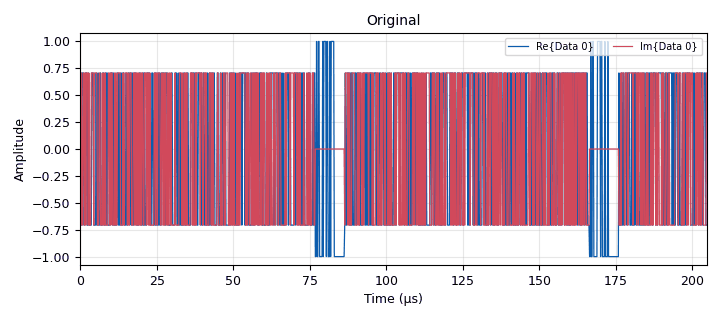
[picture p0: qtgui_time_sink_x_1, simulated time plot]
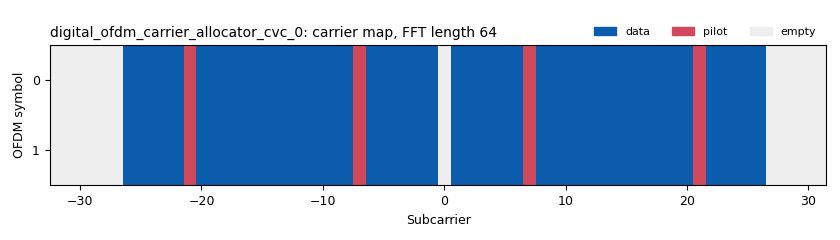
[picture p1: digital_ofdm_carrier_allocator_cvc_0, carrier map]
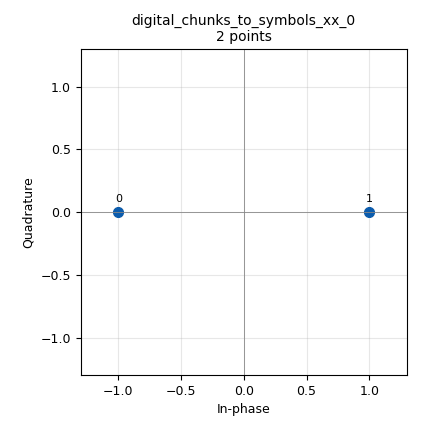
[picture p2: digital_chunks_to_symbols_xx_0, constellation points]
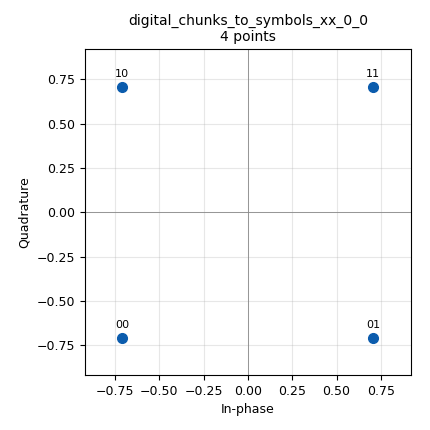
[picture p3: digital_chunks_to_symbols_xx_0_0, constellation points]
<?xml version='1.0' encoding='utf-8'?>
<?grc format='1' created='3.7.9'?>
<flow_graph>
<block>
<key>options</key>
<param><key>id</key><value>chaine_ofdm</value></param>
<param><key>category</key><value>Custom</value></param>
<param><key>description</key><value>Example of an OFDM receiver</value></param>
<param><key>generate_options</key><value>qt_gui</value></param>
<param><key>title</key><value>OFDM Rx</value></param>
</block>
<block>
<key>variable</key>
<param><key>id</key><value>fft_len</value></param>
<param><key>value</key><value>64</value></param>
</block>
<block>
<key>variable</key>
<param><key>id</key><value>header_equalizer</value></param>
<param><key>value</key><value>digital.ofdm_equalizer_simpledfe(fft_len, header_mod.base(), occupied_carriers, pilot_carriers, pilot_symbols)</value></param>
</block>
<block>
<key>variable</key>
<param><key>id</key><value>header_formatter</value></param>
<param><key>value</key><value>digital.packet_header_ofdm(occupied_carriers, n_syms=1, len_tag_key=packet_length_tag_key, frame_len_tag_key=length_tag_key, bits_per_header_sym=header_mod.bits_per_symbol(), bits_per_payload_sym=payload_mod.bits_per_symbol(), scramble_header=False)</value></param>
</block>
<block>
<key>variable</key>
<param><key>id</key><value>header_mod</value></param>
<param><key>value</key><value>digital.constellation_bpsk()</value></param>
</block>
<block>
<key>variable</key>
<param><key>id</key><value>length_tag_key</value></param>
<param><key>value</key><value>"frame_len"</value></param>
</block>
<block>
<key>variable</key>
<param><key>id</key><value>occupied_carriers</value></param>
<param><key>value</key><value>(range(-26, -21) + range(-20, -7) + range(-6, 0) + range(1, 7) + range(8, 21) + range(22, 27),)</value></param>
</block>
<block>
<key>variable</key>
<param><key>id</key><value>packet_len</value></param>
<param><key>value</key><value>96</value></param>
</block>
<block>
<key>variable</key>
<param><key>id</key><value>packet_length_tag_key</value></param>
<param><key>value</key><value>"packet_len"</value></param>
</block>
<block>
<key>variable</key>
<param><key>id</key><value>payload_equalizer</value></param>
<param><key>value</key><value>digital.ofdm_equalizer_simpledfe(fft_len, payload_mod.base(), occupied_carriers, pilot_carriers, pilot_symbols, 1)</value></param>
</block>
<block>
<key>variable</key>
<param><key>id</key><value>payload_mod</value></param>
<param><key>value</key><value>digital.constellation_qpsk()</value></param>
</block>
<block>
<key>variable</key>
<param><key>id</key><value>pilot_carriers</value></param>
<param><key>value</key><value>((-21, -7, 7, 21,),)</value></param>
</block>
<block>
<key>variable</key>
<param><key>id</key><value>pilot_symbols</value></param>
<param><key>value</key><value>((1, 1, 1, -1,),)</value></param>
</block>
<block>
<key>variable</key>
<param><key>id</key><value>rolloff</value></param>
<param><key>value</key><value>0</value></param>
</block>
<block>
<key>variable</key>
<param><key>id</key><value>samp_rate</value></param>
<param><key>value</key><value>5000000</value></param>
</block>
<block>
<key>variable</key>
<param><key>id</key><value>sync_word1</value></param>
<param><key>value</key><value>[0., 0., 0., 0., 0., 0., 0., 1.41421356, 0., -1.41421356, 0., 1.41421356, 0., -1.41421356, 0., -1.41421356, 0., -1.41421356, 0., 1.41421356, 0., -1.41421356, 0., 1.41421356, 0., -1.41421356, 0., -1.41421356, 0., -1.41421356, 0., -1.41421356, 0., 1.41421356, 0., -1.41421356, 0., 1.41421356, 0., 1.41421356, 0., 1.41421356, 0., -1.41421356, 0., 1.41421356, 0., 1.41421356, 0., 1.41421356, 0., -1.41421356, 0., 1.41421356, 0., 1.41421356, 0., 1.41421356, 0., 0., 0., 0., 0., 0.]</value></param>
</block>
<block>
<key>variable</key>
<param><key>id</key><value>sync_word2</value></param>
<param><key>value</key><value>[0j, 0j, 0j, 0j, 0j, 0j, (-1+0j), (-1+0j), (-1+0j), (-1+0j), (1+0j), (1+0j), (-1+0j), (-1+0j), (-1+0j), (1+0j), (-1+0j), (1+0j), (1+0j), (1 +0j), (1+0j), (1+0j), (-1+0j), (-1+0j), (-1+0j), (-1+0j), (-1+0j), (1+0j), (-1+0j), (-1+0j), (1+0j), (-1+0j), 0j, (1+0j), (-1+0j), (1+0j), (1+0j), (1+0j), (-1+0j), (1+0j), (1+0j), (1+0j), (-1+0j), (1+0j), (1+0j), (1+0j), (1+0j), (-1+0j), (1+0j), (-1+0j), (-1+0j), (-1+0j), (1+0j), (-1+0j), (1+0j), (-1+0j), (-1+0j), (-1+0j), (-1+0j), 0j, 0j, 0j, 0j, 0j]</value></param>
</block>
<block>
<key>analog_frequency_modulator_fc</key>
<param><key>id</key><value>analog_frequency_modulator_fc_0</value></param>
<param><key>sensitivity</key><value>-2.0/fft_len</value></param>
</block>
<block>
<key>analog_random_source_x</key>
<param><key>id</key><value>analog_random_source_x_0</value></param>
<param><key>max</key><value>255</value></param>
<param><key>min</key><value>0</value></param>
<param><key>num_samps</key><value>1024</value></param>
<param><key>type</key><value>byte</value></param>
<param><key>repeat</key><value>True</value></param>
</block>
<block>
<key>blocks_delay</key>
<param><key>id</key><value>blocks_delay_0</value></param>
<param><key>delay</key><value>fft_len+fft_len/4</value></param>
<param><key>type</key><value>complex</value></param>
</block>
<block>
<key>blocks_head</key>
<param><key>id</key><value>blocks_head_0</value></param>
<param><key>_enabled</key><value>0</value></param>
<param><key>num_items</key><value>1024</value></param>
<param><key>type</key><value>byte</value></param>
</block>
<block>
<key>blocks_multiply_const_vxx</key>
<param><key>id</key><value>blocks_multiply_const_vxx_0</value></param>
<param><key>const</key><value>0.05</value></param>
<param><key>type</key><value>complex</value></param>
</block>
<block>
<key>blocks_multiply_xx</key>
<param><key>id</key><value>blocks_multiply_xx_0</value></param>
<param><key>type</key><value>complex</value></param>
</block>
<block>
<key>blocks_null_sink</key>
<param><key>id</key><value>blocks_null_sink_0</value></param>
<param><key>bus_conns</key><value>[[0,],]</value></param>
<param><key>type</key><value>byte</value></param>
</block>
<block>
<key>blocks_probe_signal_x</key>
<param><key>id</key><value>blocks_probe_signal_x_0</value></param>
<param><key>type</key><value>byte</value></param>
</block>
<block>
<key>blocks_repack_bits_bb</key>
<param><key>id</key><value>blocks_repack_bits_bb_0</value></param>
<param><key>k</key><value>payload_mod.bits_per_symbol()</value></param>
<param><key>l</key><value>8</value></param>
<param><key>endianness</key><value>gr.GR_LSB_FIRST</value></param>
<param><key>len_tag_key</key><value>packet_length_tag_key</value></param>
<param><key>align_output</key><value>True</value></param>
</block>
<block>
<key>blocks_repack_bits_bb</key>
<param><key>id</key><value>blocks_repack_bits_bb_0_0</value></param>
<param><key>k</key><value>8</value></param>
<param><key>l</key><value>payload_mod.bits_per_symbol()</value></param>
<param><key>endianness</key><value>gr.GR_LSB_FIRST</value></param>
<param><key>len_tag_key</key><value>packet_length_tag_key</value></param>
</block>
<block>
<key>blocks_stream_to_tagged_stream</key>
<param><key>id</key><value>blocks_stream_to_tagged_stream_0</value></param>
<param><key>len_tag_key</key><value>packet_length_tag_key</value></param>
<param><key>packet_len</key><value>packet_len</value></param>
<param><key>type</key><value>byte</value></param>
</block>
<block>
<key>blocks_tag_debug</key>
<param><key>id</key><value>blocks_tag_debug_1</value></param>
<param><key>_enabled</key><value>0</value></param>
<param><key>type</key><value>byte</value></param>
<param><key>name</key><value>Rx Bytes</value></param>
</block>
<block>
<key>blocks_tag_gate</key>
<param><key>id</key><value>blocks_tag_gate_0</value></param>
<param><key>type</key><value>complex</value></param>
<param><key>propagate_tags</key><value>False</value></param>
</block>
<block>
<key>blocks_tagged_stream_mux</key>
<param><key>id</key><value>blocks_tagged_stream_mux_0</value></param>
<param><key>type</key><value>complex</value></param>
<param><key>lengthtagname</key><value>"packet_len"</value></param>
<param><key>ninputs</key><value>2</value></param>
</block>
<block>
<key>blocks_throttle</key>
<param><key>id</key><value>blocks_throttle_0</value></param>
<param><key>samples_per_second</key><value>samp_rate</value></param>
<param><key>type</key><value>complex</value></param>
</block>
<block>
<key>blocks_vector_source_x</key>
<param><key>id</key><value>blocks_vector_source_x_0</value></param>
<param><key>_enabled</key><value>0</value></param>
<param><key>type</key><value>byte</value></param>
<param><key>repeat</key><value>True</value></param>
<param><key>vector</key><value>(1,1,1,0,1,1,0,1,1,0,1,1,1,1,1,1,0,1,1,0,1,1,0,1,1,1,1,1,1,0,1,1,0,1,1,0,1,0,0,1,1,1,0,1,1,1,0,0,0,1,0,1,1,1,1,0,1,0,1,0,0,0,1,1,1,1,1,1,0,0,0,1,1,0,0,1,0,0,1,1,1,0,1,1,0,1,0,0,1,0,1,1,1,1,0,1,0,0,1,0,0,1,1,1,1,1,1,0,1,0,0,0,1,1,1,0,0,1,1,1,0,1,0,1,0,1,0,1,0,1,1,1,0,0,1,1,1,0,0,0,1,1,1,1,100,54,41,98,65,28,96,75,14,91,83,0,84,90,13,75,95,27,66,98,40,54,99,53,42,99,64,29,96,74,15,91,83,1,84,90,12,76,95,26,66,98,39,55,99,52,43,99,64,30,96,74,16,91,82,2,85,89,11,77,95,25,67,98,39,56,99,51,44,99,63,30,96,73,17,92,82,3,85,89,11,77,94,24,68,98,38,56,99,51,44,99,62,31,96,73,18,92,81,3,86,89,10,78,94,24,68,98,37,57,99,50,45,99,61,32,97,72,18,92,81,4,86,88,9,78,94,23,69,98,36,58,99,49,46,99,61,33,97,71,19,93,80,5,87,88,8,79,94,22)</value></param>
</block>
<block>
<key>digital_chunks_to_symbols_xx</key>
<param><key>id</key><value>digital_chunks_to_symbols_xx_0</value></param>
<param><key>dimension</key><value>1</value></param>
<param><key>in_type</key><value>byte</value></param>
<param><key>out_type</key><value>complex</value></param>
<param><key>symbol_table</key><value>header_mod.points()</value></param>
</block>
<block>
<key>digital_chunks_to_symbols_xx</key>
<param><key>id</key><value>digital_chunks_to_symbols_xx_0_0</value></param>
<param><key>dimension</key><value>1</value></param>
<param><key>in_type</key><value>byte</value></param>
<param><key>out_type</key><value>complex</value></param>
<param><key>symbol_table</key><value>payload_mod.points()</value></param>
</block>
<block>
<key>digital_constellation_decoder_cb</key>
<param><key>id</key><value>digital_constellation_decoder_cb_0</value></param>
<param><key>constellation</key><value>header_mod.base()</value></param>
</block>
<block>
<key>digital_constellation_decoder_cb</key>
<param><key>id</key><value>digital_constellation_decoder_cb_1</value></param>
<param><key>constellation</key><value>payload_mod.base()</value></param>
</block>
<block>
<key>digital_corr_est_cc</key>
<param><key>id</key><value>digital_corr_est_cc_0</value></param>
<param><key>sps</key><value>1</value></param>
<param><key>symbols</key><value>(0.00000 - 0.00000j, -0.23756 + 0.06817j, 0.02455 - 0.06790j, -0.02923 + 0.05414j, 0.00701 - 0.10558j, 0.07080 - 0.00739j, 0.04334 + 0.00660j, -0.11691 + 0.08759j, 0.09375 + 0.06250j, 0.04313 - 0.10143j, 0.00862 - 0.03317j, -0.05702 + 0.07170j, -0.09857 - 0.09157j, 0.02654 + 0.03204j, -0.03675 - 0.04537j, 0.06443 + 0.17533j, 0.04419 + 0.00000j, 0.06443 - 0.17533j, -0.03675 + 0.04537j, 0.02654 - 0.03204j, -0.09857 + 0.09157j, -0.05702 - 0.07170j, 0.00862 + 0.03317j, 0.04313 + 0.10143j, 0.09375 - 0.06250j, -0.11691 - 0.08759j, 0.04334 - 0.00660j, 0.07080 + 0.00739j, 0.00701 + 0.10558j, -0.02923 - 0.05414j, 0.02455 + 0.06790j, -0.23756 - 0.06817j, 0.00000 + 0.00000j, 0.23756 - 0.06817j, -0.02455 + 0.06790j, 0.02923 - 0.05414j, -0.00701 + 0.10558j, -0.07080 + 0.00739j, -0.04334 - 0.00660j, 0.11691 - 0.08759j, -0.09375 - 0.06250j, -0.04313 + 0.10143j, -0.00862 + 0.03317j, 0.05702 - 0.07170j, 0.09857 + 0.09157j, -0.02654 - 0.03204j, 0.03675 + 0.04537j, -0.06443 - 0.17533j, -0.04419 + 0.00000j, -0.06443 + 0.17533j, 0.03675 - 0.04537j, -0.02654 + 0.03204j, 0.09857 - 0.09157j, 0.05702 + 0.07170j, -0.00862 - 0.03317j, -0.04313 - 0.10143j, -0.09375 + 0.06250j, 0.11691 + 0.08759j, -0.04334 + 0.00660j, -0.07080 - 0.00739j, -0.00701 - 0.10558j, 0.02923 + 0.05414j, -0.02455 - 0.06790j, 0.23756 + 0.06817j, 0.00000 - 0.00000j, -0.23756 + 0.06817j, 0.02455 - 0.06790j, -0.02923 + 0.05414j, 0.00701 - 0.10558j, 0.07080 - 0.00739j, 0.04334 + 0.00660j, -0.11691 + 0.08759j, 0.09375 + 0.06250j, 0.04313 - 0.10143j, 0.00862 - 0.03317j, -0.05702 + 0.07170j, -0.09857 - 0.09157j, 0.02654 + 0.03204j, -0.03675 - 0.04537j, 0.06443 + 0.17533j, 0.06250 + 0.03125j, -0.10790 - 0.08255j, 0.00182 + 0.03337j, 0.09586 - 0.07711j, 0.06872 + 0.05573j, 0.00373 + 0.04257j, -0.03565 - 0.03853j, -0.14193 + 0.01821j, -0.15089 - 0.03504j, 0.14492 - 0.01154j, 0.07984 + 0.05798j, -0.06544 - 0.02403j, 0.10927 - 0.05236j, 0.14303 + 0.12879j, -0.04601 - 0.13003j, -0.11594 + 0.05444j, -0.06250 + 0.00000j, -0.11594 - 0.05444j, -0.04601 + 0.13003j, 0.14303 - 0.12879j, 0.10927 + 0.05236j, -0.06544 + 0.02403j, 0.07984 - 0.05798j, 0.14492 + 0.01154j, -0.15089 + 0.03504j, -0.14193 - 0.01821j, -0.03565 + 0.03853j, 0.00373 - 0.04257j, 0.06872 - 0.05573j, 0.09586 + 0.07711j, 0.00182 - 0.03337j, -0.10790 + 0.08255j, 0.06250 - 0.03125j, -0.00527 - 0.11799j, 0.00182 + 0.05304j, 0.05923 + 0.02687j, -0.09460 + 0.11347j, 0.06227 - 0.14667j, -0.03565 + 0.03377j, -0.10488 - 0.05448j, 0.02589 + 0.09754j, 0.06134 - 0.07480j, 0.07984 + 0.06226j, -0.02766 + 0.02419j, 0.04162 - 0.02844j, -0.09425 - 0.14799j, -0.04601 + 0.09145j, 0.09289 + 0.12172j, -0.06250 + 0.00000j, 0.09289 - 0.12172j, -0.04601 - 0.09145j, -0.09425 + 0.14799j, 0.04162 + 0.02844j, -0.02766 - 0.02419j, 0.07984 - 0.06226j, 0.06134 + 0.07480j, 0.02589 - 0.09754j, -0.10488 + 0.05448j, -0.03565 - 0.03377j, 0.06227 + 0.14667j, -0.09460 - 0.11347j, 0.05923 - 0.02687j, 0.00182 - 0.05304j, -0.00527 + 0.11799j, 0.06250 + 0.03125j, -0.10790 - 0.08255j, 0.00182 + 0.03337j, 0.09586 - 0.07711j, 0.06872 + 0.05573j, 0.00373 + 0.04257j, -0.03565 - 0.03853j, -0.14193 + 0.01821j, -0.15089 - 0.03504j, 0.14492 - 0.01154j, 0.07984 + 0.05798j, -0.06544 - 0.02403j, 0.10927 - 0.05236j, 0.14303 + 0.12879j, -0.04601 - 0.13003j, -0.11594 + 0.05444j)</value></param>
<param><key>mark_delay</key><value>0</value></param>
<param><key>threshold</key><value>0.999999999</value></param>
</block>
<block>
<key>digital_crc32_bb</key>
<param><key>id</key><value>digital_crc32_bb_0</value></param>
<param><key>lengthtagname</key><value>packet_length_tag_key</value></param>
<param><key>check</key><value>True</value></param>
<param><key>packed</key><value>True</value></param>
</block>
<block>
<key>digital_crc32_bb</key>
<param><key>id</key><value>digital_crc32_bb_0_0</value></param>
<param><key>lengthtagname</key><value>packet_length_tag_key</value></param>
<param><key>check</key><value>False</value></param>
<param><key>packed</key><value>True</value></param>
</block>
<block>
<key>digital_header_payload_demux</key>
<param><key>id</key><value>digital_header_payload_demux_0</value></param>
<param><key>guard_interval</key><value>fft_len/4</value></param>
<param><key>header_len</key><value>3</value></param>
<param><key>type</key><value>complex</value></param>
<param><key>items_per_symbol</key><value>fft_len</value></param>
<param><key>length_tag_key</key><value>length_tag_key</value></param>
<param><key>output_symbols</key><value>True</value></param>
<param><key>samp_rate</key><value>samp_rate</value></param>
<param><key>special_tags</key><value>()</value></param>
<param><key>timing_tag_key</key><value>"rx_time"</value></param>
</block>
<block>
<key>digital_ofdm_carrier_allocator_cvc</key>
<param><key>id</key><value>digital_ofdm_carrier_allocator_cvc_0</value></param>
<param><key>fft_len</key><value>fft_len</value></param>
<param><key>len_tag_key</key><value>packet_length_tag_key</value></param>
<param><key>occupied_carriers</key><value>occupied_carriers</value></param>
<param><key>pilot_carriers</key><value>pilot_carriers</value></param>
<param><key>pilot_symbols</key><value>pilot_symbols</value></param>
<param><key>sync_words</key><value>(sync_word1, sync_word2)</value></param>
</block>
<block>
<key>digital_ofdm_chanest_vcvc</key>
<param><key>id</key><value>digital_ofdm_chanest_vcvc_0</value></param>
<param><key>force_one_symbol</key><value>False</value></param>
<param><key>max_carr_offset</key><value>3</value></param>
<param><key>n_data_symbols</key><value>1</value></param>
<param><key>sync_symbol1</key><value>sync_word1</value></param>
<param><key>sync_symbol2</key><value>sync_word2</value></param>
</block>
<block>
<key>digital_ofdm_cyclic_prefixer</key>
<param><key>id</key><value>digital_ofdm_cyclic_prefixer_0</value></param>
<param><key>cp_len</key><value>fft_len/4</value></param>
<param><key>input_size</key><value>fft_len</value></param>
<param><key>tagname</key><value>packet_length_tag_key</value></param>
<param><key>rolloff</key><value>rolloff</value></param>
</block>
<block>
<key>digital_ofdm_frame_equalizer_vcvc</key>
<param><key>id</key><value>digital_ofdm_frame_equalizer_vcvc_0</value></param>
<param><key>cp_len</key><value>fft_len/4</value></param>
<param><key>equalizer</key><value>header_equalizer.base()</value></param>
<param><key>fft_len</key><value>fft_len</value></param>
<param><key>fixed_frame_len</key><value>1</value></param>
<param><key>len_tag_key</key><value>length_tag_key</value></param>
<param><key>propagate_channel_state</key><value>True</value></param>
</block>
<block>
<key>digital_ofdm_frame_equalizer_vcvc</key>
<param><key>id</key><value>digital_ofdm_frame_equalizer_vcvc_1</value></param>
<param><key>cp_len</key><value>fft_len/4</value></param>
<param><key>equalizer</key><value>payload_equalizer.base()</value></param>
<param><key>fft_len</key><value>fft_len</value></param>
<param><key>len_tag_key</key><value>length_tag_key</value></param>
<param><key>propagate_channel_state</key><value>True</value></param>
</block>
<block>
<key>digital_ofdm_serializer_vcc</key>
<param><key>id</key><value>digital_ofdm_serializer_vcc_header</value></param>
<param><key>carr_offset_key</key><value></value></param>
<param><key>fft_len</key><value>fft_len</value></param>
<param><key>len_tag_key</key><value>length_tag_key</value></param>
<param><key>occupied_carriers</key><value>occupied_carriers</value></param>
<param><key>packet_len_tag_key</key><value></value></param>
</block>
<block>
<key>digital_ofdm_serializer_vcc</key>
<param><key>id</key><value>digital_ofdm_serializer_vcc_payload</value></param>
<param><key>carr_offset_key</key><value></value></param>
<param><key>fft_len</key><value>fft_len</value></param>
<param><key>len_tag_key</key><value>length_tag_key</value></param>
<param><key>occupied_carriers</key><value>occupied_carriers</value></param>
<param><key>packet_len_tag_key</key><value>packet_length_tag_key</value></param>
<param><key>symbols_skipped</key><value>1</value></param>
</block>
<block>
<key>digital_ofdm_sync_sc_cfb</key>
<param><key>id</key><value>digital_ofdm_sync_sc_cfb_0</value></param>
<param><key>cp_len</key><value>fft_len/4</value></param>
<param><key>fft_len</key><value>fft_len</value></param>
</block>
<block>
<key>digital_packet_headergenerator_bb</key>
<param><key>id</key><value>digital_packet_headergenerator_bb_0</value></param>
<param><key>header_formatter</key><value>header_formatter.formatter()</value></param>
<param><key>len_tag_key</key><value>packet_length_tag_key</value></param>
</block>
<block>
<key>digital_packet_headerparser_b</key>
<param><key>id</key><value>digital_packet_headerparser_b_0</value></param>
<param><key>header_formatter</key><value>header_formatter.base()</value></param>
</block>
<block>
<key>fft_vxx</key>
<param><key>id</key><value>fft_vxx_0</value></param>
<param><key>fft_size</key><value>fft_len</value></param>
<param><key>forward</key><value>True</value></param>
<param><key>type</key><value>complex</value></param>
<param><key>shift</key><value>True</value></param>
<param><key>window</key><value>()</value></param>
</block>
<block>
<key>fft_vxx</key>
<param><key>id</key><value>fft_vxx_0_0</value></param>
<param><key>fft_size</key><value>fft_len</value></param>
<param><key>forward</key><value>False</value></param>
<param><key>type</key><value>complex</value></param>
<param><key>shift</key><value>True</value></param>
<param><key>window</key><value>()</value></param>
</block>
<block>
<key>fft_vxx</key>
<param><key>id</key><value>fft_vxx_1</value></param>
<param><key>fft_size</key><value>fft_len</value></param>
<param><key>forward</key><value>True</value></param>
<param><key>type</key><value>complex</value></param>
<param><key>shift</key><value>True</value></param>
<param><key>window</key><value></value></param>
</block>
<block>
<key>import</key>
<param><key>id</key><value>import_1</value></param>
<param><key>import</key><value>from gnuradio.digital.utils import tagged_streams</value></param>
</block>
<block>
<key>pir_get_timestamp</key>
<param><key>id</key><value>pir_get_timestamp_0</value></param>
</block>
<block>
<key>qtgui_time_sink_x</key>
<param><key>id</key><value>qtgui_time_sink_x_0</value></param>
<param><key>color1</key><value>"blue"</value></param>
<param><key>label1</key><value></value></param>
<param><key>color2</key><value>"red"</value></param>
<param><key>label2</key><value></value></param>
<param><key>name</key><value>"Out"</value></param>
<param><key>size</key><value>1024</value></param>
<param><key>srate</key><value>samp_rate</value></param>
<param><key>type</key><value>complex</value></param>
<param><key>ymax</key><value>1.5</value></param>
<param><key>ymin</key><value>-1.5</value></param>
</block>
<block>
<key>qtgui_time_sink_x</key>
<param><key>id</key><value>qtgui_time_sink_x_0_0</value></param>
<param><key>_enabled</key><value>0</value></param>
<param><key>color1</key><value>"blue"</value></param>
<param><key>label1</key><value></value></param>
<param><key>color2</key><value>"red"</value></param>
<param><key>label2</key><value></value></param>
<param><key>name</key><value>"Sortie"</value></param>
<param><key>size</key><value>1024</value></param>
<param><key>srate</key><value>samp_rate</value></param>
<param><key>type</key><value>complex</value></param>
</block>
<block>
<key>qtgui_time_sink_x</key>
<param><key>id</key><value>qtgui_time_sink_x_0_2</value></param>
<param><key>_enabled</key><value>0</value></param>
<param><key>color1</key><value>"blue"</value></param>
<param><key>label1</key><value></value></param>
<param><key>color2</key><value>"red"</value></param>
<param><key>label2</key><value></value></param>
<param><key>name</key><value>"Sortie post FFT"</value></param>
<param><key>size</key><value>1024</value></param>
<param><key>srate</key><value>samp_rate</value></param>
<param><key>type</key><value>complex</value></param>
<param><key>ymax</key><value>20</value></param>
<param><key>ymin</key><value>-30</value></param>
</block>
<block>
<key>qtgui_time_sink_x</key>
<param><key>id</key><value>qtgui_time_sink_x_1</value></param>
<param><key>color1</key><value>"blue"</value></param>
<param><key>label1</key><value></value></param>
<param><key>color2</key><value>"red"</value></param>
<param><key>label2</key><value></value></param>
<param><key>name</key><value>"Original"</value></param>
<param><key>size</key><value>1024</value></param>
<param><key>srate</key><value>samp_rate</value></param>
<param><key>type</key><value>complex</value></param>
</block>
<block>
<key>uhd_usrp_sink</key>
<param><key>id</key><value>uhd_usrp_sink_0</value></param>
<param><key>ant0</key><value>TX/RX</value></param>
<param><key>center_freq0</key><value>2.492e9</value></param>
<param><key>norm_gain0</key><value>False</value></param>
<param><key>gain0</key><value>40</value></param>
<param><key>clock_rate</key><value>0.0</value></param>
<param><key>dev_addr</key><value>serial=30CEEA9</value></param>
<param><key>dev_args</key><value>""</value></param>
<param><key>type</key><value>fc32</value></param>
<param><key>samp_rate</key><value>samp_rate</value></param>
<param><key>hide_cmd_port</key><value>False</value></param>
<param><key>sync</key><value></value></param>
<param><key>len_tag_name</key><value></value></param>
</block>
<block>
<key>uhd_usrp_source</key>
<param><key>id</key><value>uhd_usrp_source_0</value></param>
<param><key>ant0</key><value>TX/RX</value></param>
<param><key>center_freq0</key><value>2.492e9</value></param>
<param><key>dc_offs_enb0</key><value>""</value></param>
<param><key>iq_imbal_enb0</key><value>""</value></param>
<param><key>norm_gain0</key><value>False</value></param>
<param><key>gain0</key><value>60</value></param>
<param><key>clock_rate</key><value>0.0</value></param>
<param><key>dev_addr</key><value>serial=30CEECB</value></param>
<param><key>dev_args</key><value>""</value></param>
<param><key>type</key><value>fc32</value></param>
<param><key>samp_rate</key><value>samp_rate</value></param>
<param><key>hide_cmd_port</key><value>False</value></param>
<param><key>sync</key><value></value></param>
</block>
<block>
<key>virtual_sink</key>
<param><key>id</key><value>virtual_sink_0</value></param>
<param><key>stream_id</key><value>Header Stream</value></param>
</block>
<block>
<key>virtual_sink</key>
<param><key>id</key><value>virtual_sink_1</value></param>
<param><key>stream_id</key><value>Payload Stream</value></param>
</block>
<block>
<key>virtual_source</key>
<param><key>id</key><value>virtual_source_0</value></param>
<param><key>stream_id</key><value>Header Stream</value></param>
</block>
<block>
<key>virtual_source</key>
<param><key>id</key><value>virtual_source_1</value></param>
<param><key>stream_id</key><value>Payload Stream</value></param>
</block>
<connection><source_block_id>analog_frequency_modulator_fc_0</source_block_id><sink_block_id>blocks_multiply_xx_0</sink_block_id><source_key>0</source_key><sink_key>0</sink_key></connection>
<connection><source_block_id>analog_random_source_x_0</source_block_id><sink_block_id>blocks_stream_to_tagged_stream_0</sink_block_id><source_key>0</source_key><sink_key>0</sink_key></connection>
<connection><source_block_id>blocks_delay_0</source_block_id><sink_block_id>blocks_multiply_xx_0</sink_block_id><source_key>0</source_key><sink_key>1</sink_key></connection>
<connection><source_block_id>blocks_head_0</source_block_id><sink_block_id>blocks_stream_to_tagged_stream_0</sink_block_id><source_key>0</source_key><sink_key>0</sink_key></connection>
<connection><source_block_id>blocks_multiply_const_vxx_0</source_block_id><sink_block_id>blocks_tag_gate_0</sink_block_id><source_key>0</source_key><sink_key>0</sink_key></connection>
<connection><source_block_id>blocks_multiply_xx_0</source_block_id><sink_block_id>digital_corr_est_cc_0</sink_block_id><source_key>0</source_key><sink_key>0</sink_key></connection>
<connection><source_block_id>blocks_multiply_xx_0</source_block_id><sink_block_id>digital_header_payload_demux_0</sink_block_id><source_key>0</source_key><sink_key>0</sink_key></connection>
<connection><source_block_id>blocks_repack_bits_bb_0</source_block_id><sink_block_id>digital_crc32_bb_0</sink_block_id><source_key>0</source_key><sink_key>0</sink_key></connection>
<connection><source_block_id>blocks_repack_bits_bb_0_0</source_block_id><sink_block_id>digital_chunks_to_symbols_xx_0_0</sink_block_id><source_key>0</source_key><sink_key>0</sink_key></connection>
<connection><source_block_id>blocks_stream_to_tagged_stream_0</source_block_id><sink_block_id>digital_crc32_bb_0_0</sink_block_id><source_key>0</source_key><sink_key>0</sink_key></connection>
<connection><source_block_id>blocks_tag_gate_0</source_block_id><sink_block_id>uhd_usrp_sink_0</sink_block_id><source_key>0</source_key><sink_key>0</sink_key></connection>
<connection><source_block_id>blocks_tagged_stream_mux_0</source_block_id><sink_block_id>blocks_throttle_0</sink_block_id><source_key>0</source_key><sink_key>0</sink_key></connection>
<connection><source_block_id>blocks_tagged_stream_mux_0</source_block_id><sink_block_id>digital_ofdm_carrier_allocator_cvc_0</sink_block_id><source_key>0</source_key><sink_key>0</sink_key></connection>
<connection><source_block_id>blocks_throttle_0</source_block_id><sink_block_id>qtgui_time_sink_x_1</sink_block_id><source_key>0</source_key><sink_key>0</sink_key></connection>
<connection><source_block_id>blocks_vector_source_x_0</source_block_id><sink_block_id>blocks_head_0</sink_block_id><source_key>0</source_key><sink_key>0</sink_key></connection>
<connection><source_block_id>digital_chunks_to_symbols_xx_0</source_block_id><sink_block_id>blocks_tagged_stream_mux_0</sink_block_id><source_key>0</source_key><sink_key>0</sink_key></connection>
<connection><source_block_id>digital_chunks_to_symbols_xx_0_0</source_block_id><sink_block_id>blocks_tagged_stream_mux_0</sink_block_id><source_key>0</source_key><sink_key>1</sink_key></connection>
<connection><source_block_id>digital_constellation_decoder_cb_0</source_block_id><sink_block_id>digital_packet_headerparser_b_0</sink_block_id><source_key>0</source_key><sink_key>0</sink_key></connection>
<connection><source_block_id>digital_constellation_decoder_cb_1</source_block_id><sink_block_id>blocks_repack_bits_bb_0</sink_block_id><source_key>0</source_key><sink_key>0</sink_key></connection>
<connection><source_block_id>digital_corr_est_cc_0</source_block_id><sink_block_id>pir_get_timestamp_0</sink_block_id><source_key>0</source_key><sink_key>0</sink_key></connection>
<connection><source_block_id>digital_corr_est_cc_0</source_block_id><sink_block_id>qtgui_time_sink_x_0</sink_block_id><source_key>0</source_key><sink_key>0</sink_key></connection>
<connection><source_block_id>digital_crc32_bb_0</source_block_id><sink_block_id>blocks_probe_signal_x_0</sink_block_id><source_key>0</source_key><sink_key>0</sink_key></connection>
<connection><source_block_id>digital_crc32_bb_0</source_block_id><sink_block_id>blocks_tag_debug_1</sink_block_id><source_key>0</source_key><sink_key>0</sink_key></connection>
<connection><source_block_id>digital_crc32_bb_0_0</source_block_id><sink_block_id>blocks_repack_bits_bb_0_0</sink_block_id><source_key>0</source_key><sink_key>0</sink_key></connection>
<connection><source_block_id>digital_crc32_bb_0_0</source_block_id><sink_block_id>digital_packet_headergenerator_bb_0</sink_block_id><source_key>0</source_key><sink_key>0</sink_key></connection>
<connection><source_block_id>digital_header_payload_demux_0</source_block_id><sink_block_id>virtual_sink_0</sink_block_id><source_key>0</source_key><sink_key>0</sink_key></connection>
<connection><source_block_id>digital_header_payload_demux_0</source_block_id><sink_block_id>virtual_sink_1</sink_block_id><source_key>1</source_key><sink_key>0</sink_key></connection>
<connection><source_block_id>digital_ofdm_carrier_allocator_cvc_0</source_block_id><sink_block_id>fft_vxx_0_0</sink_block_id><source_key>0</source_key><sink_key>0</sink_key></connection>
<connection><source_block_id>digital_ofdm_chanest_vcvc_0</source_block_id><sink_block_id>digital_ofdm_frame_equalizer_vcvc_0</sink_block_id><source_key>0</source_key><sink_key>0</sink_key></connection>
<connection><source_block_id>digital_ofdm_cyclic_prefixer_0</source_block_id><sink_block_id>blocks_multiply_const_vxx_0</sink_block_id><source_key>0</source_key><sink_key>0</sink_key></connection>
<connection><source_block_id>digital_ofdm_cyclic_prefixer_0</source_block_id><sink_block_id>qtgui_time_sink_x_0_2</sink_block_id><source_key>0</source_key><sink_key>0</sink_key></connection>
<connection><source_block_id>digital_ofdm_frame_equalizer_vcvc_0</source_block_id><sink_block_id>digital_ofdm_serializer_vcc_header</sink_block_id><source_key>0</source_key><sink_key>0</sink_key></connection>
<connection><source_block_id>digital_ofdm_frame_equalizer_vcvc_1</source_block_id><sink_block_id>digital_ofdm_serializer_vcc_payload</sink_block_id><source_key>0</source_key><sink_key>0</sink_key></connection>
<connection><source_block_id>digital_ofdm_serializer_vcc_header</source_block_id><sink_block_id>digital_constellation_decoder_cb_0</sink_block_id><source_key>0</source_key><sink_key>0</sink_key></connection>
<connection><source_block_id>digital_ofdm_serializer_vcc_payload</source_block_id><sink_block_id>digital_constellation_decoder_cb_1</sink_block_id><source_key>0</source_key><sink_key>0</sink_key></connection>
<connection><source_block_id>digital_ofdm_serializer_vcc_payload</source_block_id><sink_block_id>qtgui_time_sink_x_0_0</sink_block_id><source_key>0</source_key><sink_key>0</sink_key></connection>
<connection><source_block_id>digital_ofdm_sync_sc_cfb_0</source_block_id><sink_block_id>digital_header_payload_demux_0</sink_block_id><source_key>1</source_key><sink_key>1</sink_key></connection>
<connection><source_block_id>digital_ofdm_sync_sc_cfb_0</source_block_id><sink_block_id>analog_frequency_modulator_fc_0</sink_block_id><source_key>0</source_key><sink_key>0</sink_key></connection>
<connection><source_block_id>digital_packet_headergenerator_bb_0</source_block_id><sink_block_id>digital_chunks_to_symbols_xx_0</sink_block_id><source_key>0</source_key><sink_key>0</sink_key></connection>
<connection><source_block_id>digital_packet_headerparser_b_0</source_block_id><sink_block_id>digital_header_payload_demux_0</sink_block_id><source_key>header_data</source_key><sink_key>header_data</sink_key></connection>
<connection><source_block_id>fft_vxx_0</source_block_id><sink_block_id>digital_ofdm_chanest_vcvc_0</sink_block_id><source_key>0</source_key><sink_key>0</sink_key></connection>
<connection><source_block_id>fft_vxx_0_0</source_block_id><sink_block_id>digital_ofdm_cyclic_prefixer_0</sink_block_id><source_key>0</source_key><sink_key>0</sink_key></connection>
<connection><source_block_id>fft_vxx_1</source_block_id><sink_block_id>digital_ofdm_frame_equalizer_vcvc_1</sink_block_id><source_key>0</source_key><sink_key>0</sink_key></connection>
<connection><source_block_id>pir_get_timestamp_0</source_block_id><sink_block_id>blocks_null_sink_0</sink_block_id><source_key>0</source_key><sink_key>0</sink_key></connection>
<connection><source_block_id>uhd_usrp_source_0</source_block_id><sink_block_id>blocks_delay_0</sink_block_id><source_key>0</source_key><sink_key>0</sink_key></connection>
<connection><source_block_id>uhd_usrp_source_0</source_block_id><sink_block_id>digital_ofdm_sync_sc_cfb_0</sink_block_id><source_key>0</source_key><sink_key>0</sink_key></connection>
<connection><source_block_id>virtual_source_0</source_block_id><sink_block_id>fft_vxx_0</sink_block_id><source_key>0</source_key><sink_key>0</sink_key></connection>
<connection><source_block_id>virtual_source_1</source_block_id><sink_block_id>fft_vxx_1</sink_block_id><source_key>0</source_key><sink_key>0</sink_key></connection>
</flow_graph>
